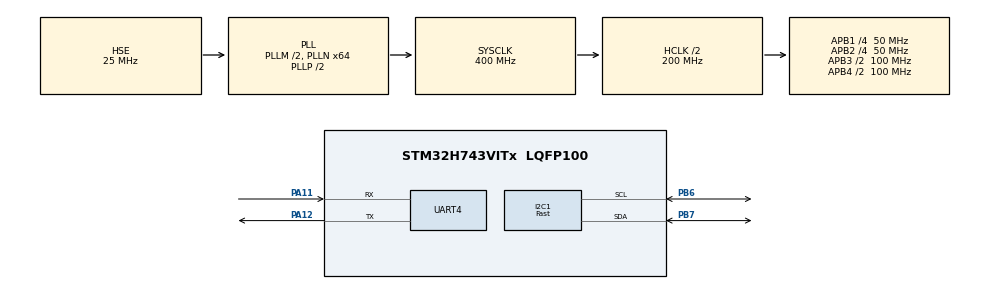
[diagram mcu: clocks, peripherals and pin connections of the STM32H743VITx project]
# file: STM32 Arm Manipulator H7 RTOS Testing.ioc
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CORTEX_M7.CPU_DCache=Enabled
CORTEX_M7.CPU_ICache=Enabled
FREERTOS.Queues01=myQueue01,1,uint8_t,0,Dynamic,NULL,NULL;myQueue02,1,uint8_t,0,Dynamic,NULL,NULL
FREERTOS.Tasks01=defaultTask,24,128,StartDefaultTask,Default,NULL,Dynamic,NULL,NULL;myTask02,16,128,StartTask02,Default,NULL,Dynamic,NULL,NULL
I2C1.I2C_Speed_Mode=I2C_Fast
I2C1.Timing=0x00401959
Mcu.Family=STM32H7
Mcu.Name=STM32H743VITx
Mcu.Package=LQFP100
NVIC.PriorityGroup=NVIC_PRIORITYGROUP_4
NVIC.TIM1_UP_IRQn=true\:15\:0\:false\:false\:true\:false\:false\:true\:true
NVIC.TimeBase=TIM1_UP_IRQn
NVIC.TimeBaseIP=TIM1
NVIC.UART4_IRQn=true\:5\:0\:false\:false\:true\:true\:true\:true\:true
PA11.Mode=Asynchronous
PA11.Signal=UART4_RX
PA12.Mode=Asynchronous
PA12.Signal=UART4_TX
PA13\ (JTMS/SWDIO).Mode=Serial_Wire
PA13\ (JTMS/SWDIO).Signal=DEBUG_JTMS-SWDIO
PA14\ (JTCK/SWCLK).Mode=Serial_Wire
PA14\ (JTCK/SWCLK).Signal=DEBUG_JTCK-SWCLK
PB6.Mode=I2C
PB6.Signal=I2C1_SCL
PB7.Mode=I2C
PB7.Signal=I2C1_SDA
PH0-OSC_IN\ (PH0).Mode=HSE-External-Oscillator
PH0-OSC_IN\ (PH0).Signal=RCC_OSC_IN
PH1-OSC_OUT\ (PH1).Mode=HSE-External-Oscillator
PH1-OSC_OUT\ (PH1).Signal=RCC_OSC_OUT
ProjectManager.HeapSize=0x200
ProjectManager.StackSize=0x400
ProjectManager.TargetToolchain=MDK-ARM V5.32
RCC.ADCFreq_Value=50390625
RCC.APB1Freq_Value=50000000
RCC.APB2Freq_Value=50000000
RCC.APB3Freq_Value=100000000
RCC.APB4Freq_Value=100000000
RCC.CortexFreq_Value=400000000
RCC.D1PPRE=RCC_APB3_DIV2
RCC.D2PPRE1=RCC_APB1_DIV4
RCC.D2PPRE2=RCC_APB2_DIV4
RCC.D3PPRE=RCC_APB4_DIV2
RCC.DIVM1=2
RCC.DIVN1=64
RCC.EnbaleCSS=true
RCC.HCLKFreq_Value=200000000
RCC.HPRE=RCC_HCLK_DIV2
RCC.PLLFRACN=0
RCC.PLLSourceVirtual=RCC_PLLSOURCE_HSE
RCC.SYSCLKFreq_VALUE=400000000
RCC.SYSCLKSource=RCC_SYSCLKSOURCE_PLLCLK
RCC.USBFreq_Value=400000000
VP_FREERTOS_VS_CMSIS_V2.Mode=CMSIS_V2
VP_SYS_VS_tim1.Mode=TIM1
board=custom

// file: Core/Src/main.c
/* USER CODE BEGIN Header */
/**
  ******************************************************************************
  * @file           : main.c
  * @brief          : Main program body
  ******************************************************************************
  * @attention
  *
  * Copyright (c) 2025 STMicroelectronics.
  * All rights reserved.
  *
  * This software is licensed under terms that can be found in the LICENSE file
  * in the root directory of this software component.
  * If no LICENSE file comes with this software, it is provided AS-IS.
  *
  ******************************************************************************
  */
/* USER CODE END Header */
#include "main.h"
#include "cmsis_os.h"

/* USER CODE BEGIN Includes */
#include "ssd1306.h"
/* USER CODE END Includes */

I2C_HandleTypeDef hi2c1;

UART_HandleTypeDef huart4;

/* Definitions for defaultTask */
osThreadId_t defaultTaskHandle;
const osThreadAttr_t defaultTask_attributes = {
  .name = "defaultTask",
  .stack_size = 128 * 4,
  .priority = (osPriority_t) osPriorityNormal,
};
/* Definitions for myTask02 */
osThreadId_t myTask02Handle;
const osThreadAttr_t myTask02_attributes = {
  .name = "myTask02",
  .stack_size = 128 * 4,
  .priority = (osPriority_t) osPriorityBelowNormal,
};
/* Definitions for myQueue01 */
osMessageQueueId_t myQueue01Handle;
const osMessageQueueAttr_t myQueue01_attributes = {
  .name = "myQueue01"
};
/* Definitions for myQueue02 */
osMessageQueueId_t myQueue02Handle;
const osMessageQueueAttr_t myQueue02_attributes = {
  .name = "myQueue02"
};
/* USER CODE BEGIN PV */
uint8_t rx_buff[80];
/* USER CODE END PV */

void SystemClock_Config(void);
static void MX_GPIO_Init(void);
static void MX_I2C1_Init(void);
static void MX_UART4_Init(void);
void StartDefaultTask(void *argument);
void StartTask02(void *argument);

/* USER CODE BEGIN 0 */
void HAL_UART_RxCpltCallback(UART_HandleTypeDef *huart){
	if(huart->Instance == UART4){
		uint8_t uart_flag;
		uart_flag = 1;
		osMessageQueuePut(myQueue02Handle, &uart_flag, 0, 0);
	}
}
/* USER CODE END 0 */

int main(void)
{

  /* Enable I-Cache---------------------------------------------------------*/
  SCB_EnableICache();

  /* Enable D-Cache---------------------------------------------------------*/
  SCB_EnableDCache();

  /* MCU Configuration--------------------------------------------------------*/

  /* Reset of all peripherals, Initializes the Flash interface and the Systick. */
  HAL_Init();

  /* Configure the system clock */
  SystemClock_Config();

  /* Initialize all configured peripherals */
  MX_GPIO_Init();
  MX_I2C1_Init();
  MX_UART4_Init();
  /* USER CODE BEGIN 2 */
	SSD1306_Init();
  /* USER CODE END 2 */

  /* Init scheduler */
  osKernelInitialize();

  /* Create the queue(s) */
  /* creation of myQueue01 */
  myQueue01Handle = osMessageQueueNew (1, sizeof(uint8_t), &myQueue01_attributes);

  /* creation of myQueue02 */
  myQueue02Handle = osMessageQueueNew (1, sizeof(uint8_t), &myQueue02_attributes);

  /* Create the thread(s) */
  /* creation of defaultTask */
  defaultTaskHandle = osThreadNew(StartDefaultTask, NULL, &defaultTask_attributes);

  /* creation of myTask02 */
  myTask02Handle = osThreadNew(StartTask02, NULL, &myTask02_attributes);

  /* Start scheduler */
  osKernelStart();

  /* We should never get here as control is now taken by the scheduler */
  /* Infinite loop */
  while (1)
  {

  }
}

void SystemClock_Config(void)
{
  RCC_OscInitTypeDef RCC_OscInitStruct = {0};
  RCC_ClkInitTypeDef RCC_ClkInitStruct = {0};

  /** Supply configuration update enable
  */
  HAL_PWREx_ConfigSupply(PWR_LDO_SUPPLY);

  /** Configure the main internal regulator output voltage
  */
  __HAL_PWR_VOLTAGESCALING_CONFIG(PWR_REGULATOR_VOLTAGE_SCALE1);

  while(!__HAL_PWR_GET_FLAG(PWR_FLAG_VOSRDY)) {}

  /** Initializes the RCC Oscillators according to the specified parameters
  * in the RCC_OscInitTypeDef structure.
  */
  RCC_OscInitStruct.OscillatorType = RCC_OSCILLATORTYPE_HSE;
  RCC_OscInitStruct.HSEState = RCC_HSE_ON;
  RCC_OscInitStruct.PLL.PLLState = RCC_PLL_ON;
  RCC_OscInitStruct.PLL.PLLSource = RCC_PLLSOURCE_HSE;
  RCC_OscInitStruct.PLL.PLLM = 2;
  RCC_OscInitStruct.PLL.PLLN = 64;
  RCC_OscInitStruct.PLL.PLLP = 2;
  RCC_OscInitStruct.PLL.PLLQ = 2;
  RCC_OscInitStruct.PLL.PLLR = 2;
  RCC_OscInitStruct.PLL.PLLRGE = RCC_PLL1VCIRANGE_3;
  RCC_OscInitStruct.PLL.PLLVCOSEL = RCC_PLL1VCOWIDE;
  RCC_OscInitStruct.PLL.PLLFRACN = 0;
  if (HAL_RCC_OscConfig(&RCC_OscInitStruct) != HAL_OK)
  {
    Error_Handler();
  }

  /** Initializes the CPU, AHB and APB buses clocks
  */
  RCC_ClkInitStruct.ClockType = RCC_CLOCKTYPE_HCLK|RCC_CLOCKTYPE_SYSCLK
                              |RCC_CLOCKTYPE_PCLK1|RCC_CLOCKTYPE_PCLK2
                              |RCC_CLOCKTYPE_D3PCLK1|RCC_CLOCKTYPE_D1PCLK1;
  RCC_ClkInitStruct.SYSCLKSource = RCC_SYSCLKSOURCE_PLLCLK;
  RCC_ClkInitStruct.SYSCLKDivider = RCC_SYSCLK_DIV1;
  RCC_ClkInitStruct.AHBCLKDivider = RCC_HCLK_DIV2;
  RCC_ClkInitStruct.APB3CLKDivider = RCC_APB3_DIV2;
  RCC_ClkInitStruct.APB1CLKDivider = RCC_APB1_DIV4;
  RCC_ClkInitStruct.APB2CLKDivider = RCC_APB2_DIV4;
  RCC_ClkInitStruct.APB4CLKDivider = RCC_APB4_DIV2;

  if (HAL_RCC_ClockConfig(&RCC_ClkInitStruct, FLASH_LATENCY_2) != HAL_OK)
  {
    Error_Handler();
  }

  /** Enables the Clock Security System
  */
  HAL_RCC_EnableCSS();
}

static void MX_I2C1_Init(void)
{

  hi2c1.Instance = I2C1;
  hi2c1.Init.Timing = 0x00401959;
  hi2c1.Init.OwnAddress1 = 0;
  hi2c1.Init.AddressingMode = I2C_ADDRESSINGMODE_7BIT;
  hi2c1.Init.DualAddressMode = I2C_DUALADDRESS_DISABLE;
  hi2c1.Init.OwnAddress2 = 0;
  hi2c1.Init.OwnAddress2Masks = I2C_OA2_NOMASK;
  hi2c1.Init.GeneralCallMode = I2C_GENERALCALL_DISABLE;
  hi2c1.Init.NoStretchMode = I2C_NOSTRETCH_DISABLE;
  if (HAL_I2C_Init(&hi2c1) != HAL_OK)
  {
    Error_Handler();
  }

  /** Configure Analogue filter
  */
  if (HAL_I2CEx_ConfigAnalogFilter(&hi2c1, I2C_ANALOGFILTER_ENABLE) != HAL_OK)
  {
    Error_Handler();
  }

  /** Configure Digital filter
  */
  if (HAL_I2CEx_ConfigDigitalFilter(&hi2c1, 0) != HAL_OK)
  {
    Error_Handler();
  }

}

static void MX_UART4_Init(void)
{

  huart4.Instance = UART4;
  huart4.Init.BaudRate = 115200;
  huart4.Init.WordLength = UART_WORDLENGTH_8B;
  huart4.Init.StopBits = UART_STOPBITS_1;
  huart4.Init.Parity = UART_PARITY_NONE;
  huart4.Init.Mode = UART_MODE_TX_RX;
  huart4.Init.HwFlowCtl = UART_HWCONTROL_NONE;
  huart4.Init.OverSampling = UART_OVERSAMPLING_16;
  huart4.Init.OneBitSampling = UART_ONE_BIT_SAMPLE_DISABLE;
  huart4.Init.ClockPrescaler = UART_PRESCALER_DIV1;
  huart4.AdvancedInit.AdvFeatureInit = UART_ADVFEATURE_NO_INIT;
  if (HAL_UART_Init(&huart4) != HAL_OK)
  {
    Error_Handler();
  }
  if (HAL_UARTEx_SetTxFifoThreshold(&huart4, UART_TXFIFO_THRESHOLD_1_8) != HAL_OK)
  {
    Error_Handler();
  }
  if (HAL_UARTEx_SetRxFifoThreshold(&huart4, UART_RXFIFO_THRESHOLD_1_8) != HAL_OK)
  {
    Error_Handler();
  }
  if (HAL_UARTEx_DisableFifoMode(&huart4) != HAL_OK)
  {
    Error_Handler();
  }

}

static void MX_GPIO_Init(void)
{

  /* GPIO Ports Clock Enable */
  __HAL_RCC_GPIOH_CLK_ENABLE();
  __HAL_RCC_GPIOA_CLK_ENABLE();
  __HAL_RCC_GPIOB_CLK_ENABLE();

}

void StartDefaultTask(void *argument)
{
  /* USER CODE BEGIN 5 */
  /* Infinite loop */
  for(;;)
  {
		uint8_t
		menu_flag,
		uart_flag;

		osMessageQueueGet(myQueue01Handle, &menu_flag, 0, 0);
		osMessageQueueGet(myQueue02Handle, &uart_flag, 0, 0);

		if(menu_flag == 0){
			SSD1306_GotoXY(0,0);
			SSD1306_Puts("Data : 0", &Font_7x10, SSD1306_COLOR_WHITE);
			SSD1306_UpdateScreen();
		}

		else if(menu_flag == 1){
			SSD1306_GotoXY(0,0);
			SSD1306_Puts("Data : 1", &Font_7x10, SSD1306_COLOR_WHITE);
			SSD1306_UpdateScreen();
		}

		HAL_UART_Receive_IT(&huart4, rx_buff, 80);
    osDelay(1);
  }
  /* USER CODE END 5 */
}

void StartTask02(void *argument)
{
  /* USER CODE BEGIN StartTask02 */
  /* Infinite loop */
  for(;;)
  {
		uint8_t counter;

		counter++;
		if(counter > 1) counter = 0;
		osMessageQueuePut(myQueue01Handle, &counter, 1, 0);
    osDelay(1000);
  }
  /* USER CODE END StartTask02 */
}

void HAL_TIM_PeriodElapsedCallback(TIM_HandleTypeDef *htim)
{
  if (htim->Instance == TIM1) {
    HAL_IncTick();
  }
}

void Error_Handler(void)
{
  __disable_irq();
  while (1)
  {
  }
}
